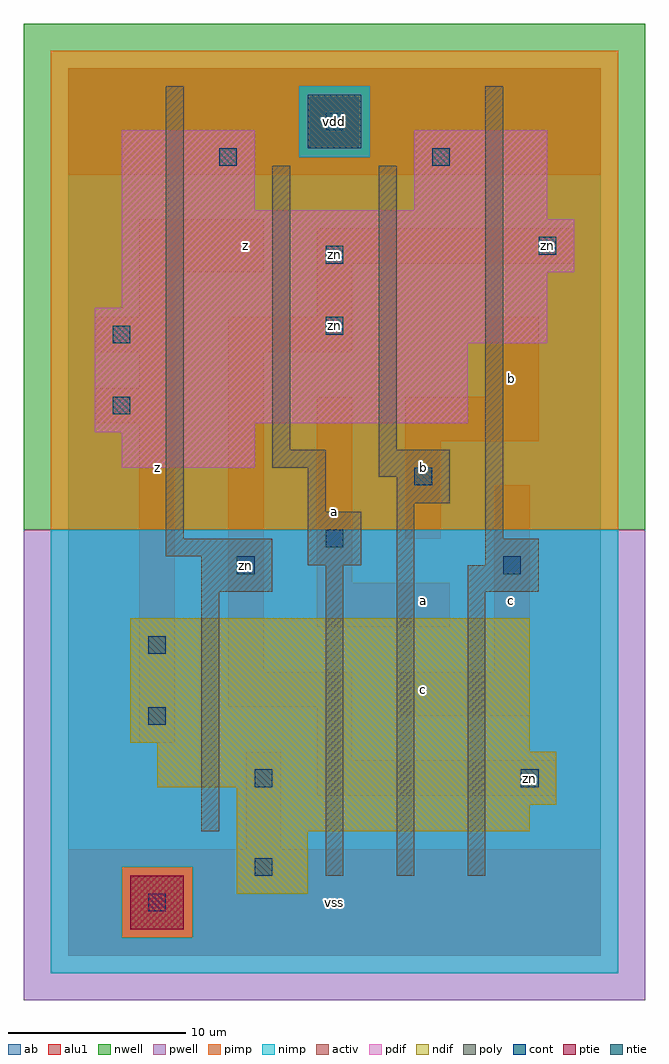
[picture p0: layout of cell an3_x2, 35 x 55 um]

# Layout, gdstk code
import gdstk
lib = gdstk.Library(unit=1e-6, precision=1e-09)
def R(c, l, rs):  # rectangles x0, y0, x1, y1
    for r in rs: c.add(gdstk.rectangle(r[:2], r[2:], *l))
ndif = (3, 0)
pdif = (4, 0)
ntie = (5, 0)
ptie = (6, 0)
cont = (25, 0)
pwell = (41, 0)
nwell = (42, 0)
activ = (43, 0)
pimp = (44, 0)
nimp = (45, 0)
poly = (46, 0)
alu1 = (49, 0)
ab = (63, 0)

an3_x2 = lib.new_cell('an3_x2')
R(an3_x2, ndif, [(9.5,3.5,13.5,7), (9.5,7,26,8.5), (9.5,8.5,27.5,9.5), (5,9.5,27.5,11.5), (5,11.5,26,12), (3.5,12,26,19)])
R(an3_x2, pdif, [(3,27.5,10.5,29.5), (1.5,29.5,10.5,30), (1.5,30,22.5,34.5), (1.5,34.5,27,36.5), (3,36.5,27,38.5), (3,38.5,28.5,41.5), (3,41.5,27,42), (3,42,10.5,46.5), (19.5,42,27,46.5)])
R(an3_x2, ntie, [(13.5,45.5,16.5,48.5)])
R(an3_x2, ptie, [(3.5,1.5,6.5,4.5)])
R(an3_x2, cont, [(4.5,2.5,5.5,3.5), (10.5,4.5,11.5,5.5), (10.5,9.5,11.5,10.5), (25.5,9.5,26.5,10.5), (4.5,13,5.5,14), (4.5,17,5.5,18), (9.5,21.5,10.5,22.5), (24.5,21.5,25.5,22.5), (14.5,23,15.5,24), (19.5,26.5,20.5,27.5), (2.5,30.5,3.5,31.5), (2.5,34.5,3.5,35.5), (14.5,35,15.5,36), (14.5,39,15.5,40), (26.5,39.5,27.5,40.5), (8.5,44.5,9.5,45.5), (20.5,44.5,21.5,45.5), (14.5,46.5,15.5,47.5)])
R(an3_x2, pwell, [(-2.5,-2.5,32.5,24)])
R(an3_x2, nwell, [(-2.5,24,32.5,52.5)])
R(an3_x2, activ, [(3.5,1.5,6.5,4.5), (9.5,3.5,13.5,7), (9.5,7,26,8.5), (9.5,8.5,27.5,9.5), (5,9.5,27.5,11.5), (5,11.5,26,12), (3.5,12,26,19), (3,27.5,10.5,29.5), (1.5,29.5,10.5,30), (1.5,30,22.5,34.5), (1.5,34.5,27,36.5), (3,36.5,27,38.5), (3,38.5,28.5,41.5), (3,41.5,27,42), (3,42,10.5,46.5), (19.5,42,27,46.5), (13.5,45.5,16.5,48.5)])
R(an3_x2, pimp, [(3,1,7,5), (-1,24,31,45), (-1,45,13,49), (17,45,31,49), (-1,49,31,51)])
R(an3_x2, nimp, [(-1,-1,31,1), (-1,1,3,5), (7,1,31,5), (-1,5,31,24), (13,45,17,49)])
R(an3_x2, poly, [(14.5,4.5,15.5,22), (18.5,4.5,19.5,25.5), (22.5,4.5,23.5,20.5), (7.5,7,8.5,20.5), (7.5,20.5,11.5,22.5), (22.5,20.5,26.5,22), (13.5,22,16.5,25), (23.5,22,26.5,23.5), (5.5,22.5,11.5,23.5), (5.5,23.5,6.5,49), (23.5,23.5,24.5,49), (13.5,25,14.5,27.5), (18.5,25.5,21.5,27), (17.5,27,21.5,28.5), (11.5,27.5,14.5,28.5), (11.5,28.5,12.5,44.5), (17.5,28.5,18.5,44.5)])
R(an3_x2, alu1, [(0,0,30,6), (0,0,30,6), (10,6,12,11.5), (10,6,12,11.5), (14,9,27.5,11), (14,9,27.5,11), (14,11,16,14), (14,11,16,14), (4,12,6,30), (4,12,6,30), (18.5,13.5,26,16), (18.5,13.5,26,16), (9,14,16,16), (9,14,16,16), (9,16,11,34), (9,16,11,34), (24,16,26,26.5), (24,16,26,26.5), (14,18.5,21.5,21), (14,18.5,21.5,21), (14,21,16,31.5), (14,21,16,31.5), (19,23.5,21,29), (19,23.5,21,29), (19,29,26.5,31.5), (19,29,26.5,31.5), (1.5,30,6,32), (1.5,30,6,32), (23.5,31.5,26.5,36), (23.5,31.5,26.5,36), (4,32,6,34), (4,32,6,34), (1.5,34,6,36), (1.5,34,6,36), (9,34,16,36), (9,34,16,36), (4,36,6,38.5), (4,36,6,38.5), (14,36,16,39), (14,36,16,39), (4,38.5,11,41.5), (4,38.5,11,41.5), (14,39,28.5,41), (14,39,28.5,41), (0,44,30,50), (0,44,30,50)])
R(an3_x2, ab, [(0,0,30,50)])
an3_x2.add(gdstk.Label('zn', (10,22), layer=49, texttype=0))
an3_x2.add(gdstk.Label('zn', (15,39.5), layer=49, texttype=0))
an3_x2.add(gdstk.Label('zn', (15,35.5), layer=49, texttype=0))
an3_x2.add(gdstk.Label('zn', (26,10), layer=49, texttype=0))
an3_x2.add(gdstk.Label('zn', (27,40), layer=49, texttype=0))
an3_x2.add(gdstk.Label('z', (5,27.5), layer=49, texttype=0))
an3_x2.add(gdstk.Label('z', (10,40), layer=49, texttype=0))
an3_x2.add(gdstk.Label('vss', (15,3), layer=49, texttype=0))
an3_x2.add(gdstk.Label('a', (20,20), layer=49, texttype=0))
an3_x2.add(gdstk.Label('c', (20,15), layer=49, texttype=0))
an3_x2.add(gdstk.Label('a', (15,25), layer=49, texttype=0))
an3_x2.add(gdstk.Label('b', (20,27.5), layer=49, texttype=0))
an3_x2.add(gdstk.Label('vdd', (15,47), layer=49, texttype=0))
an3_x2.add(gdstk.Label('c', (25,20), layer=49, texttype=0))
an3_x2.add(gdstk.Label('b', (25,32.5), layer=49, texttype=0))

lib.write_gds('an3_x2.gds')
